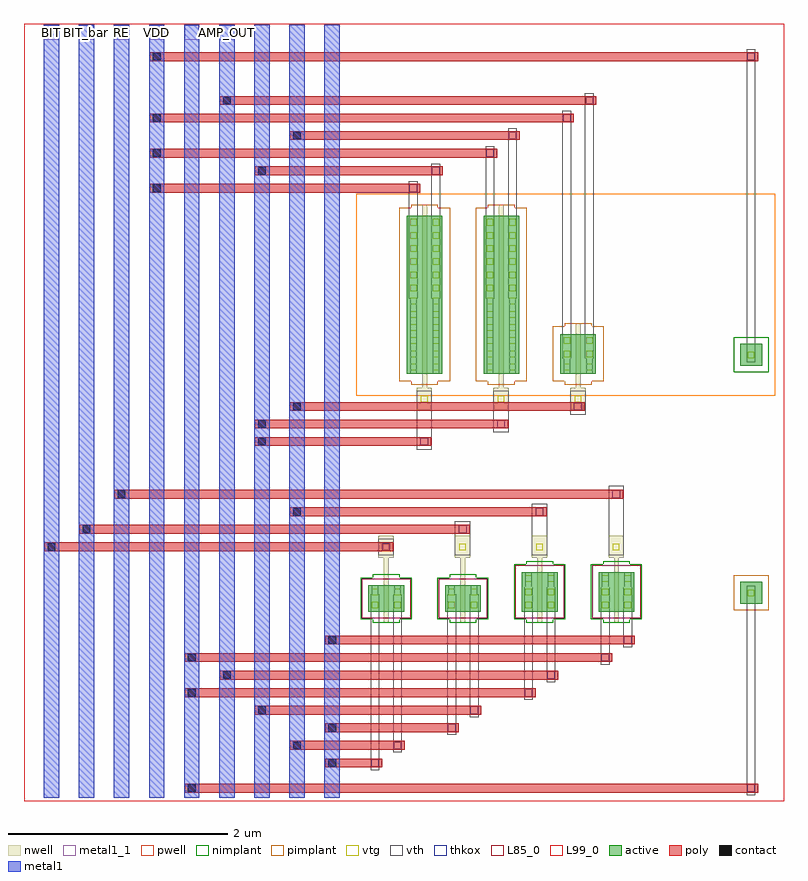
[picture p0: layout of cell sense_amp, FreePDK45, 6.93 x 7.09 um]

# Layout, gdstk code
import gdstk
lib = gdstk.Library(unit=1e-6, precision=5e-10)
def R(c, l, rs):  # rectangles x0, y0, x1, y1
    for r in rs: c.add(gdstk.rectangle(r[:2], r[2:], *l))
def A(c, l, x, y, w, h, nx, ny, dx, dy):  # array of equal rectangles
    R(c, l, [(x+i*dx, y+j*dy, x+i*dx+w, y+j*dy+h) for i in range(nx) for j in range(ny)])
active = (1, 0)
pwell = (2, 0)
nwell = (3, 0)
nimplant = (4, 0)
pimplant = (5, 0)
vtg = (6, 0)
vth = (7, 0)
thkox = (8, 0)
poly = (9, 0)
contact = (10, 0)
metal1 = (11, 0)
metal1_1 = (11, 1)
L85_0 = (85, 0)
L99_0 = (99, 0)

nmos1v_cdns_794040246030 = lib.new_cell('nmos1v_CDNS_794040246030')
R(nmos1v_cdns_794040246030, active, [(-0.14,0,0,0.24), (0,0,0.045,0.24), (0.045,0,0.185,0.24)])
R(nmos1v_cdns_794040246030, nwell, [(0,-0.1,0.045,-0.05), (0,-0.05,0.045,0), (0,0,0.045,0.24), (0,0.24,0.045,0.29), (0,0.29,0.045,0.34)])
R(nmos1v_cdns_794040246030, nimplant, [(-0.1,-0.1,0.145,0.34), (-0.21,-0.07,0.255,0.31)])
R(nmos1v_cdns_794040246030, vtg, [(-0.11,0.03,-0.05,0.09), (0.095,0.03,0.155,0.09), (-0.11,0.15,-0.05,0.21), (0.095,0.15,0.155,0.21)])
R(nmos1v_cdns_794040246030, vth, [(-0.11,0,-0.05,0.24), (0.095,0,0.155,0.24)])
R(nmos1v_cdns_794040246030, L85_0, [(-0.2,-0.06,0.245,0.3)])

nmos1v_cdns_794040246031 = lib.new_cell('nmos1v_CDNS_794040246031')
R(nmos1v_cdns_794040246031, active, [(-0.14,0,0,0.36), (0,0,0.045,0.36), (0.045,0,0.185,0.36)])
R(nmos1v_cdns_794040246031, nwell, [(0,-0.1,0.045,-0.05), (0,-0.05,0.045,0), (0,0,0.045,0.36), (0,0.36,0.045,0.41), (0,0.41,0.045,0.46)])
R(nmos1v_cdns_794040246031, nimplant, [(-0.1,-0.1,0.145,0.46), (-0.21,-0.07,0.255,0.43)])
A(nmos1v_cdns_794040246031, vtg, -0.11, 0.03, 0.06, 0.06, 1, 3, 0, 0.12)
A(nmos1v_cdns_794040246031, vtg, 0.095, 0.03, 0.06, 0.06, 1, 3, 0, 0.12)
R(nmos1v_cdns_794040246031, vth, [(-0.11,0,-0.05,0.36), (0.095,0,0.155,0.36)])
R(nmos1v_cdns_794040246031, L85_0, [(-0.2,-0.06,0.245,0.42)])

pmos1v_cdns_794040246032 = lib.new_cell('pmos1v_CDNS_794040246032')
R(pmos1v_cdns_794040246032, active, [(-0.14,0,0,1.44), (0,0,0.045,1.44), (0.045,0,0.185,1.44)])
R(pmos1v_cdns_794040246032, pwell, [(-0.2,-0.06,0.245,1.5)])
R(pmos1v_cdns_794040246032, nwell, [(0,-0.1,0.045,-0.05), (0,-0.05,0.045,0), (0,0,0.045,1.44), (0,1.44,0.045,1.49), (0,1.49,0.045,1.54)])
R(pmos1v_cdns_794040246032, pimplant, [(-0.1,-0.1,0.145,1.54), (-0.21,-0.07,0.255,1.51)])
A(pmos1v_cdns_794040246032, vtg, -0.11, 0.03, 0.06, 0.06, 1, 12, 0, 0.12)
A(pmos1v_cdns_794040246032, vtg, 0.095, 0.03, 0.06, 0.06, 1, 12, 0, 0.12)
R(pmos1v_cdns_794040246032, vth, [(-0.11,0,-0.05,1.44), (0.095,0,0.155,1.44)])

pmos1v_cdns_794040246033 = lib.new_cell('pmos1v_CDNS_794040246033')
R(pmos1v_cdns_794040246033, active, [(-0.14,0,0,0.36), (0,0,0.045,0.36), (0.045,0,0.185,0.36)])
R(pmos1v_cdns_794040246033, pwell, [(-0.2,-0.06,0.245,0.42)])
R(pmos1v_cdns_794040246033, nwell, [(0,-0.1,0.045,-0.05), (0,-0.05,0.045,0), (0,0,0.045,0.36), (0,0.36,0.045,0.41), (0,0.41,0.045,0.46)])
R(pmos1v_cdns_794040246033, pimplant, [(-0.1,-0.1,0.145,0.46), (-0.21,-0.07,0.255,0.43)])
A(pmos1v_cdns_794040246033, vtg, -0.11, 0.03, 0.06, 0.06, 1, 3, 0, 0.12)
A(pmos1v_cdns_794040246033, vtg, 0.095, 0.03, 0.06, 0.06, 1, 3, 0, 0.12)
R(pmos1v_cdns_794040246033, vth, [(-0.11,0,-0.05,0.36), (0.095,0,0.155,0.36)])

sense_amp = lib.new_cell('sense_amp')
R(sense_amp, active, [(6.53,1.8,6.73,2), (6.53,3.97,6.73,4.17)])
R(sense_amp, pwell, [(3.03,3.7,6.85,5.54)])
A(sense_amp, nwell, 3.23, 2.22, 0.14, 0.2, 4, 1, 0.7, 0)
A(sense_amp, nwell, 3.58, 3.57, 0.14, 0.2, 3, 1, 0.7, 0)
A(sense_amp, nwell, 3.63, 3.57, 0.045, 0.28, 3, 1, 0.7, 0)
R(sense_amp, nwell, [(3.28,2.02,3.325,2.42), (3.98,2.02,4.025,2.42), (4.68,2.14,4.725,2.42), (5.38,2.14,5.425,2.42)])
R(sense_amp, nimplant, [(6.47,3.91,6.79,4.23)])
R(sense_amp, pimplant, [(6.47,1.74,6.79,2.06)])
A(sense_amp, vtg, 3.27, 2.29, 0.06, 0.06, 4, 1, 0.7, 0)
A(sense_amp, vtg, 3.62, 3.64, 0.06, 0.06, 3, 1, 0.7, 0)
R(sense_amp, vtg, [(6.6,1.87,6.66,1.93), (6.6,4.04,6.66,4.1)])
A(sense_amp, vth, 3.23, 2.245, 0.14, 0.15, 4, 1, 0.7, 0)
A(sense_amp, vth, 3.58, 3.595, 0.14, 0.15, 3, 1, 0.7, 0)
R(sense_amp, vth, [(6.59,0.055,6.67,0.185), (6.59,0.08,6.67,1.94), (3.16,0.285,3.24,0.415), (3.16,0.31,3.24,1.89), (3.365,0.445,3.445,0.575), (3.365,0.47,3.445,1.89), (3.86,0.605,3.94,0.735), (3.86,0.63,3.94,1.89), (4.065,0.765,4.145,0.895), (4.065,0.79,4.145,1.89), (4.56,0.925,4.64,1.055), (4.56,0.95,4.64,1.95), (4.765,1.085,4.845,1.215), (4.765,1.11,4.845,1.95), (5.26,1.245,5.34,1.375), (5.26,1.27,5.34,1.95), (5.465,1.405,5.545,1.535), (5.465,1.43,5.545,1.95), (6.59,1.835,6.67,1.965), (3.23,2.245,3.37,2.395), (3.23,2.25,3.37,2.39), (3.93,2.25,4.07,2.55), (4.63,2.25,4.77,2.71), (5.33,2.25,5.47,2.87), (3.93,2.405,4.07,2.555), (4.63,2.565,4.77,2.715), (5.33,2.725,5.47,2.875), (3.58,3.205,3.72,3.355), (3.58,3.21,3.72,3.74), (4.28,3.365,4.42,3.515), (4.28,3.37,4.42,3.74), (4.98,3.525,5.12,3.675), (4.98,3.53,5.12,3.74), (6.59,4.005,6.67,4.135), (6.59,4.03,6.67,6.83), (4.91,4.04,4.99,6.27), (5.115,4.04,5.195,6.43), (3.51,4.58,3.59,5.63), (3.715,4.58,3.795,5.79), (4.21,4.58,4.29,5.95), (4.415,4.58,4.495,6.11), (3.51,5.525,3.59,5.655), (3.715,5.685,3.795,5.815), (4.21,5.845,4.29,5.975), (4.415,6.005,4.495,6.135), (4.91,6.165,4.99,6.295), (5.115,6.325,5.195,6.455), (6.59,6.725,6.67,6.855)])
R(sense_amp, thkox, [(6.595,0.085,6.665,0.155), (3.165,0.315,3.235,0.385), (3.37,0.475,3.44,0.545), (3.865,0.635,3.935,0.705), (4.07,0.795,4.14,0.865), (4.565,0.955,4.635,1.025), (4.77,1.115,4.84,1.185), (5.265,1.275,5.335,1.345), (5.47,1.435,5.54,1.505), (3.265,2.285,3.335,2.355), (3.965,2.445,4.035,2.515), (4.665,2.605,4.735,2.675), (5.365,2.765,5.435,2.835), (3.615,3.245,3.685,3.315), (4.315,3.405,4.385,3.475), (5.015,3.565,5.085,3.635), (3.515,5.555,3.585,5.625), (3.72,5.715,3.79,5.785), (4.215,5.875,4.285,5.945), (4.42,6.035,4.49,6.105), (4.915,6.195,4.985,6.265), (5.12,6.355,5.19,6.425), (6.595,6.755,6.665,6.825)])
A(sense_amp, poly, 1.145, 5.55, 0.13, 0.08, 1, 3, 0, 0.32)
R(sense_amp, poly, [(1.465,0.08,1.595,0.16), (1.49,0.08,6.67,0.16), (6.565,0.08,6.695,0.16), (2.745,0.31,2.875,0.39), (2.77,0.31,3.24,0.39), (3.135,0.31,3.265,0.39), (2.425,0.47,2.555,0.55), (2.45,0.47,3.445,0.55), (3.34,0.47,3.47,0.55), (2.745,0.63,2.875,0.71), (2.77,0.63,3.94,0.71), (3.835,0.63,3.965,0.71), (2.105,0.79,2.235,0.87), (2.13,0.79,4.145,0.87), (4.04,0.79,4.17,0.87), (1.465,0.95,1.595,1.03), (1.49,0.95,4.64,1.03), (4.535,0.95,4.665,1.03), (1.785,1.11,1.915,1.19), (1.81,1.11,4.845,1.19), (4.74,1.11,4.87,1.19), (1.465,1.27,1.595,1.35), (1.49,1.27,5.34,1.35), (5.235,1.27,5.365,1.35), (2.745,1.43,2.875,1.51), (2.77,1.43,5.545,1.51), (5.44,1.43,5.57,1.51), (0.185,2.28,0.315,2.36), (0.21,2.28,3.34,2.36), (3.235,2.28,3.365,2.36), (0.505,2.44,0.635,2.52), (0.53,2.44,4.04,2.52), (3.935,2.44,4.065,2.52), (2.425,2.6,2.555,2.68), (2.45,2.6,4.74,2.68), (4.635,2.6,4.765,2.68), (0.825,2.76,0.955,2.84), (0.85,2.76,5.44,2.84), (5.335,2.76,5.465,2.84), (2.105,3.24,2.235,3.32), (2.13,3.24,3.69,3.32), (3.585,3.24,3.715,3.32), (2.105,3.4,2.235,3.48), (2.13,3.4,4.39,3.48), (4.285,3.4,4.415,3.48), (2.425,3.56,2.555,3.64), (2.45,3.56,5.09,3.64), (4.985,3.56,5.115,3.64), (1.17,5.55,3.59,5.63), (3.485,5.55,3.615,5.63), (2.105,5.71,2.235,5.79), (2.13,5.71,3.795,5.79), (3.69,5.71,3.82,5.79), (1.17,5.87,4.29,5.95), (4.185,5.87,4.315,5.95), (2.425,6.03,2.555,6.11), (2.45,6.03,4.495,6.11), (4.39,6.03,4.52,6.11), (1.17,6.19,4.99,6.27), (4.885,6.19,5.015,6.27), (1.785,6.35,1.915,6.43), (1.81,6.35,5.195,6.43), (5.09,6.35,5.22,6.43), (1.145,6.75,1.275,6.83), (1.17,6.75,6.67,6.83), (6.565,6.75,6.695,6.83)])
A(sense_amp, contact, 1.175, 5.555, 0.07, 0.07, 1, 3, 0, 0.32)
R(sense_amp, contact, [(1.495,0.085,1.565,0.155), (2.775,0.315,2.845,0.385), (2.455,0.475,2.525,0.545), (2.775,0.635,2.845,0.705), (2.135,0.795,2.205,0.865), (1.495,0.955,1.565,1.025), (1.815,1.115,1.885,1.185), (1.495,1.275,1.565,1.345), (2.775,1.435,2.845,1.505), (0.215,2.285,0.285,2.355), (0.535,2.445,0.605,2.515), (2.455,2.605,2.525,2.675), (0.855,2.765,0.925,2.835), (2.135,3.245,2.205,3.315), (2.135,3.405,2.205,3.475), (2.455,3.565,2.525,3.635), (2.135,5.715,2.205,5.785), (2.455,6.035,2.525,6.105), (1.815,6.355,1.885,6.425), (1.175,6.755,1.245,6.825)])
A(sense_amp, metal1, 0.18, 0.03, 0.14, 7.05, 9, 1, 0.32, 0)
A(sense_amp, metal1, 1.17, 5.525, 0.08, 0.13, 1, 3, 0, 0.32)
R(sense_amp, metal1, [(1.49,0.055,1.57,0.185), (2.77,0.285,2.85,0.415), (2.45,0.445,2.53,0.575), (2.77,0.605,2.85,0.735), (2.13,0.765,2.21,0.895), (1.49,0.925,1.57,1.055), (1.81,1.085,1.89,1.215), (1.49,1.245,1.57,1.375), (2.77,1.405,2.85,1.535), (0.21,2.255,0.29,2.385), (0.53,2.415,0.61,2.545), (2.45,2.575,2.53,2.705), (0.85,2.735,0.93,2.865), (2.13,3.215,2.21,3.345), (2.13,3.375,2.21,3.505), (2.45,3.535,2.53,3.665), (2.13,5.685,2.21,5.815), (2.45,6.005,2.53,6.135), (1.81,6.325,1.89,6.455), (1.17,6.725,1.25,6.855)])
A(sense_amp, metal1_1, 0.185, 6.945, 0.13, 0.13, 6, 1, 0.32, 0)
R(sense_amp, L99_0, [(0,0,6.93,7.09)])
sense_amp.add(gdstk.Reference(nmos1v_cdns_794040246030, (3.98,1.73)))
sense_amp.add(gdstk.Reference(nmos1v_cdns_794040246030, (3.28,1.73)))
sense_amp.add(gdstk.Reference(nmos1v_cdns_794040246031, (5.38,1.73)))
sense_amp.add(gdstk.Reference(nmos1v_cdns_794040246031, (4.68,1.73)))
sense_amp.add(gdstk.Reference(pmos1v_cdns_794040246032, (4.33,3.9)))
sense_amp.add(gdstk.Reference(pmos1v_cdns_794040246032, (3.63,3.9)))
sense_amp.add(gdstk.Reference(pmos1v_cdns_794040246033, (5.03,3.9)))
sense_amp.add(gdstk.Label('AMP_OUT', (1.85,7.01), layer=11, texttype=3))
sense_amp.add(gdstk.Label('GND', (1.53,7.01), layer=11, texttype=3))
sense_amp.add(gdstk.Label('VDD', (1.21,7.01), layer=11, texttype=3))
sense_amp.add(gdstk.Label('RE', (0.89,7.01), layer=11, texttype=3))
sense_amp.add(gdstk.Label('BIT_bar', (0.57,7.01), layer=11, texttype=3))
sense_amp.add(gdstk.Label('BIT', (0.25,7.01), layer=11, texttype=3))

lib.write_gds('sense_amp.gds')
